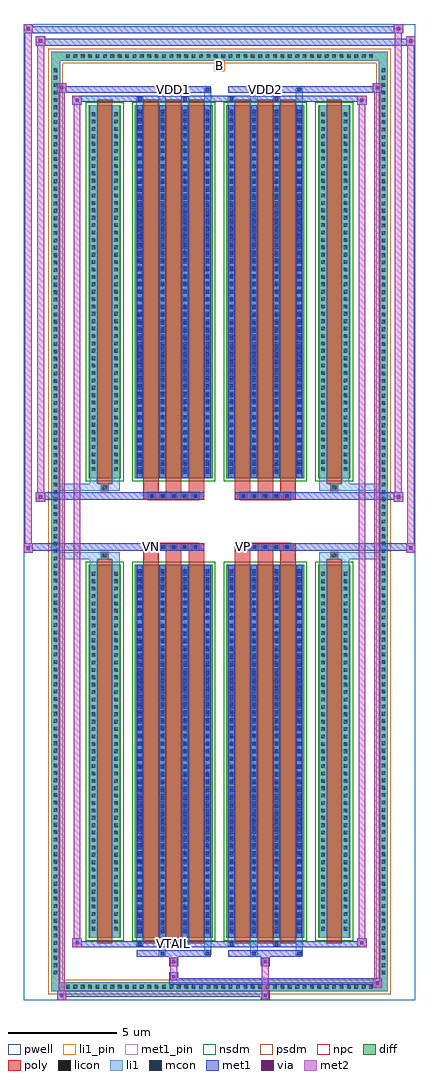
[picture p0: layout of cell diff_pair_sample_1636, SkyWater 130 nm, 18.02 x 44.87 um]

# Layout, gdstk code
import gdstk
lib = gdstk.Library(unit=1e-6, precision=5e-09)
def R(c, l, rs):  # rectangles x0, y0, x1, y1
    for r in rs: c.add(gdstk.rectangle(r[:2], r[2:], *l))
def A(c, l, x, y, w, h, nx, ny, dx, dy):  # array of equal rectangles
    R(c, l, [(x+i*dx, y+j*dy, x+i*dx+w, y+j*dy+h) for i in range(nx) for j in range(ny)])
def P(c, l, *ps):  # polygons
    for p in ps: c.add(gdstk.Polygon(p, *l))
pwell = (64, 44)
diff = (65, 20)
poly = (66, 20)
licon = (66, 44)
li1_pin = (67, 16)
li1 = (67, 20)
mcon = (67, 44)
met1_pin = (68, 16)
met1 = (68, 20)
via = (68, 44)
met2 = (69, 20)
nsdm = (93, 44)
psdm = (94, 20)
npc = (95, 20)

diff_pair_sample_1636 = lib.new_cell('diff_pair_sample_1636')
R(diff_pair_sample_1636, pwell, [(-9.01,-22,9.01,22.87), (-6.33,-20.19,-0.01,-0.805), (0.01,-20.19,6.33,-0.805), (-6.33,0.805,-0.01,20.19), (0.01,0.805,6.33,20.19)])
A(diff_pair_sample_1636, diff, -7.175, -21.6, 0.41, 0.41, 42, 2, 0.34, 42.79)
A(diff_pair_sample_1636, diff, -7.74, -20.945, 0.41, 0.41, 1, 123, 0, 0.34)
A(diff_pair_sample_1636, diff, 7.33, -20.945, 0.41, 0.41, 1, 123, 0, 0.34)
R(diff_pair_sample_1636, diff, [(-7.175,-21.6,7.175,-21.19), (-7.74,-20.945,-7.33,20.945), (7.33,-20.945,7.74,20.945), (-6.02,-19.145,-4.53,-1.985), (-3.89,-19.145,-0.32,-1.985), (0.32,-19.145,3.89,-1.985), (4.53,-19.145,6.02,-1.985), (-6.02,1.985,-4.53,19.145), (-3.89,1.985,-0.32,19.145), (0.32,1.985,3.89,19.145), (4.53,1.985,6.02,19.145), (-7.175,21.19,7.175,21.6)])
P(diff_pair_sample_1636, diff, [(7.74,21.6),(-7.74,21.6),(-7.74,-21.19),(-7.33,-21.19),(-7.33,21.19),(7.33,21.19),(7.33,-21.19),(-7.33,-21.19),(-7.74,-21.19),(-7.74,-21.6),(7.74,-21.6)])
A(diff_pair_sample_1636, poly, -3.5, -19.395, 0.71, 17.66, 3, 2, 1.04, 21.13)
A(diff_pair_sample_1636, poly, 0.71, -19.395, 0.71, 17.66, 3, 2, 1.04, 21.13)
A(diff_pair_sample_1636, poly, -3.5, -1.735, 0.71, 0.4, 3, 2, 1.04, 3.07)
A(diff_pair_sample_1636, poly, 0.71, -1.735, 0.71, 0.4, 3, 2, 1.04, 3.07)
A(diff_pair_sample_1636, poly, -3.27, -1.335, 0.33, 0.33, 5, 2, 0.5, 2.34)
A(diff_pair_sample_1636, poly, 0.94, -1.335, 0.33, 0.33, 5, 2, 0.5, 2.34)
R(diff_pair_sample_1636, poly, [(-5.63,-19.395,-4.92,-1.735), (4.92,-19.395,5.63,-1.735), (-5.44,-1.735,-5.11,-1.405), (-5.44,-1.735,-5.11,-1.405), (5.11,-1.735,5.44,-1.405), (5.11,-1.735,5.44,-1.405), (-3.5,-1.335,-0.71,-1.005), (0.71,-1.335,3.5,-1.005), (-3.5,1.005,-0.71,1.335), (0.71,1.005,3.5,1.335), (-5.44,1.405,-5.11,1.735), (-5.44,1.405,-5.11,1.735), (5.11,1.405,5.44,1.735), (5.11,1.405,5.44,1.735), (-5.63,1.735,-4.92,19.395), (4.92,1.735,5.63,19.395)])
A(diff_pair_sample_1636, licon, -7.055, -21.48, 0.17, 0.17, 42, 2, 0.34, 42.79)
A(diff_pair_sample_1636, licon, -7.62, -20.825, 0.17, 0.17, 1, 123, 0, 0.34)
A(diff_pair_sample_1636, licon, 7.45, -20.825, 0.17, 0.17, 1, 123, 0, 0.34)
A(diff_pair_sample_1636, licon, -5.88, -18.81, 0.17, 0.17, 1, 49, 0, 0.34)
A(diff_pair_sample_1636, licon, -4.84, -18.81, 0.17, 0.17, 1, 49, 0, 0.34)
A(diff_pair_sample_1636, licon, -3.75, -18.81, 0.17, 0.17, 4, 49, 1.04, 0.34)
A(diff_pair_sample_1636, licon, 0.46, -18.81, 0.17, 0.17, 4, 49, 1.04, 0.34)
A(diff_pair_sample_1636, licon, 4.67, -18.81, 0.17, 0.17, 1, 49, 0, 0.34)
A(diff_pair_sample_1636, licon, 5.71, -18.81, 0.17, 0.17, 1, 49, 0, 0.34)
A(diff_pair_sample_1636, licon, -3.19, -1.255, 0.17, 0.17, 5, 2, 0.5, 2.34)
A(diff_pair_sample_1636, licon, 1.02, -1.255, 0.17, 0.17, 5, 2, 0.5, 2.34)
A(diff_pair_sample_1636, licon, -5.88, 2.32, 0.17, 0.17, 1, 49, 0, 0.34)
A(diff_pair_sample_1636, licon, -4.84, 2.32, 0.17, 0.17, 1, 49, 0, 0.34)
A(diff_pair_sample_1636, licon, -3.75, 2.32, 0.17, 0.17, 4, 49, 1.04, 0.34)
A(diff_pair_sample_1636, licon, 0.46, 2.32, 0.17, 0.17, 4, 49, 1.04, 0.34)
A(diff_pair_sample_1636, licon, 4.67, 2.32, 0.17, 0.17, 1, 49, 0, 0.34)
A(diff_pair_sample_1636, licon, 5.71, 2.32, 0.17, 0.17, 1, 49, 0, 0.34)
R(diff_pair_sample_1636, licon, [(-5.36,-1.655,-5.19,-1.485), (5.19,-1.655,5.36,-1.485), (-5.36,1.485,-5.19,1.655), (5.19,1.485,5.36,1.655)])
R(diff_pair_sample_1636, li1_pin, [(-0.25,20.69,0.25,21.19)])
A(diff_pair_sample_1636, li1, -7.135, -21.56, 0.33, 0.33, 42, 2, 0.34, 42.79)
A(diff_pair_sample_1636, li1, -7.7, -20.905, 0.33, 0.33, 1, 123, 0, 0.34)
A(diff_pair_sample_1636, li1, 7.37, -20.905, 0.33, 0.33, 1, 123, 0, 0.34)
A(diff_pair_sample_1636, li1, -3.83, -19.145, 0.33, 17.16, 4, 2, 1.04, 21.13)
A(diff_pair_sample_1636, li1, 0.38, -19.145, 0.33, 17.16, 4, 2, 1.04, 21.13)
A(diff_pair_sample_1636, li1, -3.75, -18.93, 0.17, 0.17, 4, 47, 1.04, 0.36)
A(diff_pair_sample_1636, li1, -3.75, -18.93, 0.17, 16.73, 4, 2, 1.04, 21.13)
A(diff_pair_sample_1636, li1, 0.46, -18.93, 0.17, 0.17, 4, 47, 1.04, 0.36)
A(diff_pair_sample_1636, li1, 0.46, -18.93, 0.17, 16.73, 4, 2, 1.04, 21.13)
A(diff_pair_sample_1636, li1, -5.96, -18.89, 0.33, 0.33, 1, 49, 0, 0.34)
A(diff_pair_sample_1636, li1, -4.92, -18.89, 0.33, 0.33, 1, 49, 0, 0.34)
A(diff_pair_sample_1636, li1, -3.83, -18.89, 0.33, 0.33, 4, 49, 1.04, 0.34)
A(diff_pair_sample_1636, li1, 0.38, -18.89, 0.33, 0.33, 4, 49, 1.04, 0.34)
A(diff_pair_sample_1636, li1, 4.59, -18.89, 0.33, 0.33, 1, 49, 0, 0.34)
A(diff_pair_sample_1636, li1, 5.63, -18.89, 0.33, 0.33, 1, 49, 0, 0.34)
A(diff_pair_sample_1636, li1, -3.27, -1.335, 0.33, 0.33, 5, 2, 0.5, 2.34)
A(diff_pair_sample_1636, li1, 0.94, -1.335, 0.33, 0.33, 5, 2, 0.5, 2.34)
A(diff_pair_sample_1636, li1, -3.75, 2.2, 0.17, 0.17, 4, 47, 1.04, 0.36)
A(diff_pair_sample_1636, li1, 0.46, 2.2, 0.17, 0.17, 4, 47, 1.04, 0.36)
A(diff_pair_sample_1636, li1, -5.96, 2.24, 0.33, 0.33, 1, 49, 0, 0.34)
A(diff_pair_sample_1636, li1, -4.92, 2.24, 0.33, 0.33, 1, 49, 0, 0.34)
A(diff_pair_sample_1636, li1, -3.83, 2.24, 0.33, 0.33, 4, 49, 1.04, 0.34)
A(diff_pair_sample_1636, li1, 0.38, 2.24, 0.33, 0.33, 4, 49, 1.04, 0.34)
A(diff_pair_sample_1636, li1, 4.59, 2.24, 0.33, 0.33, 1, 49, 0, 0.34)
A(diff_pair_sample_1636, li1, 5.63, 2.24, 0.33, 0.33, 1, 49, 0, 0.34)
R(diff_pair_sample_1636, li1, [(-7.74,-21.6,-7.33,-21.19), (-7.74,-21.6,-7.33,-21.19), (-7.33,-21.6,7.33,-21.19), (7.33,-21.6,7.74,-21.19), (7.33,-21.6,7.74,-21.19), (-7.74,-21.19,-7.33,21.19), (7.33,-21.19,7.74,21.19), (-2.79,-19.95,-2.46,-19.145), (-2.71,-19.95,-2.54,-19.78), (-0.71,-19.95,-0.38,-19.145), (-0.63,-19.95,-0.46,-19.78), (1.42,-19.95,1.75,-19.145), (1.5,-19.95,1.67,-19.78), (3.5,-19.95,3.83,-19.145), (3.58,-19.95,3.75,-19.78), (-3.83,-19.52,-3.5,-19.145), (-3.75,-19.52,-3.58,-19.35), (-1.75,-19.52,-1.42,-19.145), (-1.67,-19.52,-1.5,-19.35), (0.38,-19.52,0.71,-19.145), (0.46,-19.52,0.63,-19.35), (2.46,-19.52,2.79,-19.145), (2.54,-19.52,2.71,-19.35), (-5.96,-19.145,-5.63,-1.985), (-4.92,-19.145,-4.59,-1.985), (4.59,-19.145,4.92,-1.985), (5.63,-19.145,5.96,-1.985), (-5.96,-1.985,-5.63,-1.405), (-4.92,-1.985,-4.59,-1.405), (4.59,-1.985,4.92,-1.405), (5.63,-1.985,5.96,-1.405), (-7.74,-1.735,-5.44,-1.405), (-5.96,-1.735,-5.44,-1.405), (-5.44,-1.735,-5.11,-1.405), (-5.11,-1.735,-4.59,-1.405), (4.59,-1.735,5.11,-1.405), (5.11,-1.735,5.44,-1.405), (5.11,-1.735,7.74,-1.405), (5.44,-1.735,5.96,-1.405), (-7.74,1.405,-5.44,1.735), (-5.96,1.405,-5.44,1.735), (-5.96,1.405,-5.63,1.985), (-5.44,1.405,-5.11,1.735), (-5.11,1.405,-4.59,1.735), (-4.92,1.405,-4.59,1.985), (4.59,1.405,5.11,1.735), (4.59,1.405,4.92,1.985), (5.11,1.405,5.44,1.735), (5.11,1.405,7.74,1.735), (5.44,1.405,5.96,1.735), (5.63,1.405,5.96,1.985), (-5.96,1.985,-5.63,19.145), (-4.92,1.985,-4.59,19.145), (4.59,1.985,4.92,19.145), (5.63,1.985,5.96,19.145), (-3.83,19.145,-3.5,19.52), (-2.79,19.145,-2.46,19.95), (-1.75,19.145,-1.42,19.52), (-0.71,19.145,-0.38,19.95), (0.38,19.145,0.71,19.52), (1.42,19.145,1.75,19.95), (2.46,19.145,2.79,19.52), (3.5,19.145,3.83,19.95), (-3.75,19.35,-3.58,19.52), (-1.67,19.35,-1.5,19.52), (0.46,19.35,0.63,19.52), (2.54,19.35,2.71,19.52), (-2.71,19.78,-2.54,19.95), (-0.63,19.78,-0.46,19.95), (1.5,19.78,1.67,19.95), (3.58,19.78,3.75,19.95), (-7.74,21.19,-7.33,21.6), (-7.74,21.19,-7.33,21.6), (-7.33,21.19,7.33,21.6), (7.33,21.19,7.74,21.6), (7.33,21.19,7.74,21.6)])
A(diff_pair_sample_1636, mcon, -3.75, -18.93, 0.17, 0.17, 4, 47, 1.04, 0.36)
A(diff_pair_sample_1636, mcon, 0.46, -18.93, 0.17, 0.17, 4, 47, 1.04, 0.36)
A(diff_pair_sample_1636, mcon, -3.19, -1.255, 0.17, 0.17, 5, 2, 0.5, 2.34)
A(diff_pair_sample_1636, mcon, 1.02, -1.255, 0.17, 0.17, 5, 2, 0.5, 2.34)
A(diff_pair_sample_1636, mcon, -3.75, 2.2, 0.17, 0.17, 4, 47, 1.04, 0.36)
A(diff_pair_sample_1636, mcon, 0.46, 2.2, 0.17, 0.17, 4, 47, 1.04, 0.36)
R(diff_pair_sample_1636, mcon, [(-2.71,-19.95,-2.54,-19.78), (-0.63,-19.95,-0.46,-19.78), (1.5,-19.95,1.67,-19.78), (3.58,-19.95,3.75,-19.78), (-3.75,-19.52,-3.58,-19.35), (-1.67,-19.52,-1.5,-19.35), (0.46,-19.52,0.63,-19.35), (2.54,-19.52,2.71,-19.35), (-3.75,19.35,-3.58,19.52), (-1.67,19.35,-1.5,19.52), (0.46,19.35,0.63,19.52), (2.54,19.35,2.71,19.52), (-2.71,19.78,-2.54,19.95), (-0.63,19.78,-0.46,19.95), (1.5,19.78,1.67,19.95), (3.58,19.78,3.75,19.95)])
R(diff_pair_sample_1636, met1_pin, [(-2.24,-19.56,-1.97,-19.29), (-3.24,-1.295,-2.97,-1.025), (0.97,-1.295,1.24,-1.025), (-2.24,19.74,-1.97,20.01), (1.97,19.74,2.24,20.01)])
A(diff_pair_sample_1636, met1, -3.81, -19.145, 0.29, 17.16, 4, 2, 1.04, 21.13)
A(diff_pair_sample_1636, met1, 0.4, -19.145, 0.29, 17.16, 4, 2, 1.04, 21.13)
A(diff_pair_sample_1636, met1, -3.81, -18.99, 0.29, 0.29, 4, 47, 1.04, 0.36)
A(diff_pair_sample_1636, met1, 0.4, -18.99, 0.29, 0.29, 4, 47, 1.04, 0.36)
A(diff_pair_sample_1636, met1, -3.25, -1.315, 0.29, 0.29, 5, 2, 0.5, 2.34)
A(diff_pair_sample_1636, met1, 0.96, -1.315, 0.29, 0.29, 5, 2, 0.5, 2.34)
A(diff_pair_sample_1636, met1, -3.81, 2.14, 0.29, 0.29, 4, 47, 1.04, 0.36)
A(diff_pair_sample_1636, met1, 0.4, 2.14, 0.29, 0.29, 4, 47, 1.04, 0.36)
R(diff_pair_sample_1636, met1, [(-7.47,-22,-7.04,-21.57), (1.89,-22,2.32,-21.57), (-7.47,-21.86,2.32,-21.57), (7.04,-21.43,7.47,-21), (-2.32,-21.29,7.47,-21), (-2.32,-21.15,-1.89,-20.72), (-2.32,-20.44,-1.89,-20.01), (1.89,-20.44,2.32,-20.01), (-3.81,-20.01,-0.4,-19.72), (-2.77,-20.01,-2.48,-19.72), (-0.69,-20.01,-0.4,-19.72), (0.4,-20.01,3.81,-19.72), (1.44,-20.01,1.73,-19.72), (3.52,-20.01,3.81,-19.72), (-6.76,-19.58,-6.33,-19.15), (-6.76,-19.58,-3.81,-19.29), (-3.81,-19.58,-3.52,-19.29), (-3.81,-19.58,-0.4,-19.29), (-1.73,-19.58,-1.44,-19.29), (-0.4,-19.58,0.4,-19.29), (0.4,-19.58,0.69,-19.29), (0.4,-19.58,3.81,-19.29), (2.48,-19.58,2.77,-19.29), (3.81,-19.58,6.76,-19.29), (6.33,-19.58,6.76,-19.15), (-9.01,-1.435,-8.58,-1.005), (8.58,-1.435,9.01,-1.005), (-9.01,-1.335,-0.71,-1.005), (-3.5,-1.335,-0.71,-1.005), (0.71,-1.335,3.5,-1.005), (0.71,-1.335,9.01,-1.005), (-8.44,0.905,-8.01,1.335), (8.01,0.905,8.44,1.335), (-8.44,1.005,-3.5,1.335), (-3.5,1.005,-0.71,1.335), (0.71,1.005,3.5,1.335), (3.5,1.005,8.44,1.335), (-6.76,19.15,-6.33,19.58), (6.33,19.15,6.76,19.58), (-6.76,19.29,-3.81,19.58), (-3.81,19.29,-3.52,19.58), (-3.81,19.29,-0.4,19.58), (-1.73,19.29,-1.44,19.58), (-0.4,19.29,0.4,19.58), (0.4,19.29,0.69,19.58), (0.4,19.29,3.81,19.58), (2.48,19.29,2.77,19.58), (3.81,19.29,6.76,19.58), (-7.47,19.72,-7.04,20.15), (-7.47,19.72,-3.81,20.01), (-3.81,19.72,-0.4,20.01), (-2.77,19.72,-2.48,20.01), (-0.69,19.72,-0.4,20.01), (0.4,19.72,3.81,20.01), (1.44,19.72,1.73,20.01), (3.52,19.72,3.81,20.01), (3.81,19.72,7.47,20.01), (7.04,19.72,7.47,20.15), (-8.44,21.87,-8.01,22.3), (-8.44,21.87,-6.33,22.2), (-6.33,21.87,6.33,22.2), (6.33,21.87,9.01,22.2), (8.58,21.87,9.01,22.3), (-9.01,22.44,-8.58,22.87), (-9.01,22.44,-6.33,22.77), (-6.33,22.44,6.33,22.77), (6.33,22.44,8.44,22.77), (8.01,22.44,8.44,22.87)])
R(diff_pair_sample_1636, via, [(-7.33,-21.86,-7.18,-21.71), (2.03,-21.86,2.18,-21.71), (7.18,-21.29,7.33,-21.14), (-2.18,-21.01,-2.03,-20.86), (-2.18,-20.3,-2.03,-20.15), (2.03,-20.3,2.18,-20.15), (-6.62,-19.44,-6.47,-19.29), (6.47,-19.44,6.62,-19.29), (-8.87,-1.295,-8.72,-1.145), (8.72,-1.295,8.87,-1.145), (-8.3,1.045,-8.15,1.195), (8.15,1.045,8.3,1.195), (-6.62,19.29,-6.47,19.44), (6.47,19.29,6.62,19.44), (-7.33,19.86,-7.18,20.01), (7.18,19.86,7.33,20.01), (-8.3,22.01,-8.15,22.16), (8.72,22.01,8.87,22.16), (-8.87,22.58,-8.72,22.73), (8.15,22.58,8.3,22.73)])
R(diff_pair_sample_1636, met2, [(-7.47,-22,-7.04,-21.57), (-7.4,-22,-7.11,20.15), (-7.11,-22,-7.04,-21.57), (-7.42,-21.95,-7.09,-21.62), (1.94,-21.95,2.27,-21.62), (1.94,-21.62,2.27,-20.39), (7.04,-21.43,7.47,-21), (7.11,-21.43,7.4,20.15), (7.4,-21.43,7.47,-21), (7.09,-21.38,7.42,-21.05), (-2.27,-21.1,-1.94,-20.77), (-2.27,-20.77,-1.94,-20.39), (-2.27,-20.39,-1.94,-20.06), (1.94,-20.39,2.27,-20.06), (-6.76,-19.58,-6.33,-19.15), (-6.69,-19.58,-6.4,19.58), (-6.4,-19.58,-6.33,-19.15), (6.33,-19.58,6.76,-19.15), (6.4,-19.58,6.69,19.58), (6.69,-19.58,6.76,-19.15), (-6.71,-19.53,-6.38,-19.2), (6.38,-19.53,6.71,-19.2), (-9.01,-1.435,-8.58,-1.005), (-8.96,-1.435,-8.63,22.87), (-8.63,-1.435,-8.58,-1.005), (8.58,-1.435,9.01,-1.005), (8.63,-1.435,8.96,22.3), (8.96,-1.435,9.01,-1.005), (-8.96,-1.385,-8.63,-1.055), (8.63,-1.385,8.96,-1.055), (-8.44,0.905,-8.01,1.335), (-8.39,0.905,-8.06,22.3), (-8.06,0.905,-8.01,1.335), (8.01,0.905,8.44,1.335), (8.06,0.905,8.39,22.87), (8.39,0.905,8.44,1.335), (-8.39,0.955,-8.06,1.285), (8.06,0.955,8.39,1.285), (-6.76,19.15,-6.33,19.58), (-6.4,19.15,-6.33,19.58), (6.33,19.15,6.76,19.58), (6.69,19.15,6.76,19.58), (-6.71,19.2,-6.38,19.53), (6.38,19.2,6.71,19.53), (-7.47,19.72,-7.04,20.15), (-7.11,19.72,-7.04,20.15), (7.04,19.72,7.47,20.15), (7.4,19.72,7.47,20.15), (-7.42,19.77,-7.09,20.1), (7.09,19.77,7.42,20.1), (-8.44,21.87,-8.01,22.3), (-8.06,21.87,-8.01,22.3), (8.58,21.87,9.01,22.3), (8.96,21.87,9.01,22.3), (-8.39,21.92,-8.06,22.25), (8.63,21.92,8.96,22.25), (-9.01,22.44,-8.58,22.87), (-8.63,22.44,-8.58,22.87), (8.01,22.44,8.44,22.87), (8.39,22.44,8.44,22.87), (-8.96,22.49,-8.63,22.82), (8.06,22.49,8.39,22.82)])
R(diff_pair_sample_1636, nsdm, [(-6.15,-19.275,-4.4,-1.855), (-4.02,-19.275,-0.19,-1.855), (0.19,-19.275,4.02,-1.855), (4.4,-19.275,6.15,-1.855), (-6.15,1.855,-4.4,19.275), (-4.02,1.855,-0.19,19.275), (0.19,1.855,4.02,19.275), (4.4,1.855,6.15,19.275)])
P(diff_pair_sample_1636, psdm, [(7.87,21.73),(-7.87,21.73),(-7.87,-21.06),(-7.2,-21.06),(-7.2,21.06),(7.2,21.06),(7.2,-21.06),(-7.2,-21.06),(-7.87,-21.06),(-7.87,-21.73),(7.87,-21.73)])
A(diff_pair_sample_1636, npc, -3.29, -1.355, 0.37, 0.37, 5, 2, 0.5, 2.34)
A(diff_pair_sample_1636, npc, 0.92, -1.355, 0.37, 0.37, 5, 2, 0.5, 2.34)
R(diff_pair_sample_1636, npc, [(-5.46,-1.755,-5.09,-1.385), (5.09,-1.755,5.46,-1.385), (-3.29,-1.355,-2.42,-0.985), (-3.29,-1.355,-2.42,-0.985), (-2.79,-1.355,-1.92,-0.985), (-2.79,-1.355,-1.92,-0.985), (-2.29,-1.355,-1.42,-0.985), (-2.29,-1.355,-1.42,-0.985), (-1.79,-1.355,-0.92,-0.985), (-1.79,-1.355,-0.92,-0.985), (0.92,-1.355,1.79,-0.985), (0.92,-1.355,1.79,-0.985), (1.42,-1.355,2.29,-0.985), (1.42,-1.355,2.29,-0.985), (1.92,-1.355,2.79,-0.985), (1.92,-1.355,2.79,-0.985), (2.42,-1.355,3.29,-0.985), (2.42,-1.355,3.29,-0.985), (-3.29,0.985,-2.42,1.355), (-3.29,0.985,-2.42,1.355), (-2.79,0.985,-1.92,1.355), (-2.79,0.985,-1.92,1.355), (-2.29,0.985,-1.42,1.355), (-2.29,0.985,-1.42,1.355), (-1.79,0.985,-0.92,1.355), (-1.79,0.985,-0.92,1.355), (0.92,0.985,1.79,1.355), (0.92,0.985,1.79,1.355), (1.42,0.985,2.29,1.355), (1.42,0.985,2.29,1.355), (1.92,0.985,2.79,1.355), (1.92,0.985,2.79,1.355), (2.42,0.985,3.29,1.355), (2.42,0.985,3.29,1.355), (-5.46,1.385,-5.09,1.755), (5.09,1.385,5.46,1.755)])
diff_pair_sample_1636.add(gdstk.Label('VTAIL', (-2.105,-19.425), layer=68, texttype=5))
diff_pair_sample_1636.add(gdstk.Label('VN', (-3.105,-1.16), layer=68, texttype=5))
diff_pair_sample_1636.add(gdstk.Label('VP', (1.105,-1.16), layer=68, texttype=5))
diff_pair_sample_1636.add(gdstk.Label('B', (0,20.94), layer=67, texttype=5))
diff_pair_sample_1636.add(gdstk.Label('VDD2', (2.105,19.875), layer=68, texttype=5))
diff_pair_sample_1636.add(gdstk.Label('VDD1', (-2.105,19.875), layer=68, texttype=5))

lib.write_gds('diff_pair_sample_1636.gds')
